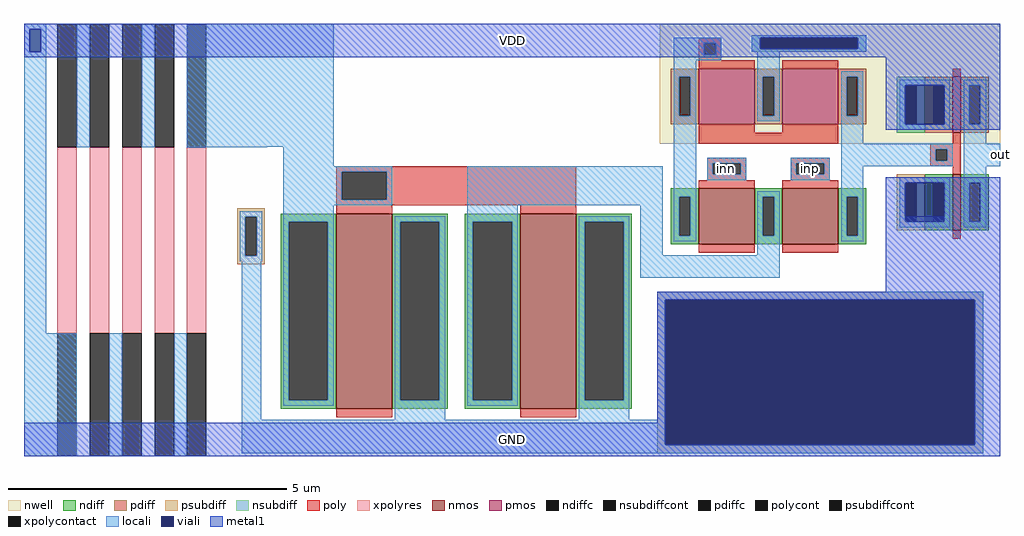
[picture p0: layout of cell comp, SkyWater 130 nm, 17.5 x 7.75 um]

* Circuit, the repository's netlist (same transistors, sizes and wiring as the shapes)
* NGSPICE file created from comp.ext - technology: sky130A

.subckt inverter a y VDD GND
X0 y a VDD VDD sky130_fd_pr__pfet_01v8 ad=0.5 pd=3 as=0.5 ps=3 w=1 l=0.15
X1 y a GND GND sky130_fd_pr__nfet_01v8 ad=0.5 pd=3 as=0.5 ps=3 w=1 l=0.15
.ends

.subckt res100k bot top GND
X0 a_0_668# bot GND sky130_fd_pr__res_xhigh_po_0p35 l=3.5
X1 top a_348_n440# GND sky130_fd_pr__res_xhigh_po_0p35 l=3.5
X2 a_0_668# a_116_n440# GND sky130_fd_pr__res_xhigh_po_0p35 l=3.5
X3 a_232_668# a_116_n440# GND sky130_fd_pr__res_xhigh_po_0p35 l=3.5
X4 a_232_668# a_348_n440# GND sky130_fd_pr__res_xhigh_po_0p35 l=3.5
.ends

*.subckt comp inn inp
Xinverter_0 inverter_0/a inverter_0/y VDD GND inverter
Xres100k_0 res100k_0/bot VDD GND res100k
X0 VDD a_2200_760# a_2200_760# VDD sky130_fd_pr__pfet_01v8 ad=0.25 pd=1.5 as=0.5 ps=3 w=1 l=1
X1 GND res100k_0/bot a_1460_170# GND sky130_fd_pr__nfet_01v8 ad=3.5 pd=9 as=3.5 ps=9 w=3.5 l=1
X2 inverter_0/a a_2200_760# VDD VDD sky130_fd_pr__pfet_01v8 ad=0.5 pd=3 as=0.25 ps=1.5 w=1 l=1
X3 GND res100k_0/bot res100k_0/bot GND sky130_fd_pr__nfet_01v8 ad=3.5 pd=9 as=3.5 ps=9 w=3.5 l=1
X4 a_1460_170# inn a_2200_760# GND sky130_fd_pr__nfet_01v8 ad=0.25 pd=1.5 as=0.5 ps=3 w=1 l=1
X5 inverter_0/a inp a_1460_170# GND sky130_fd_pr__nfet_01v8 ad=0.5 pd=3 as=0.25 ps=1.5 w=1 l=1
*.ends

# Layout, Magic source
magic
tech sky130A
<< nwell >>
rect 1080 675 1690 775
rect 1080 560 1485 675
<< nmos >>
rect 500 85 600 435
rect 830 85 930 435
rect 1150 380 1250 480
rect 1300 380 1400 480
<< pmos >>
rect 1150 595 1250 695
rect 1300 595 1400 695
<< ndiff >>
rect 1100 465 1150 480
rect 400 420 500 435
rect 400 100 415 420
rect 485 100 500 420
rect 400 85 500 100
rect 600 420 700 435
rect 600 100 615 420
rect 685 100 700 420
rect 600 85 700 100
rect 730 420 830 435
rect 730 100 745 420
rect 815 100 830 420
rect 730 85 830 100
rect 930 420 1030 435
rect 930 100 945 420
rect 1015 100 1030 420
rect 1100 395 1115 465
rect 1135 395 1150 465
rect 1100 380 1150 395
rect 1250 465 1300 480
rect 1250 395 1265 465
rect 1285 395 1300 465
rect 1250 380 1300 395
rect 1400 465 1450 480
rect 1400 395 1415 465
rect 1435 395 1450 465
rect 1400 380 1450 395
rect 930 85 1030 100
<< pdiff >>
rect 1100 680 1150 695
rect 1100 610 1115 680
rect 1135 610 1150 680
rect 1100 595 1150 610
rect 1250 680 1300 695
rect 1250 610 1265 680
rect 1285 610 1300 680
rect 1250 595 1300 610
rect 1400 680 1450 695
rect 1400 610 1415 680
rect 1435 610 1450 680
rect 1400 595 1450 610
<< ndiffc >>
rect 415 100 485 420
rect 615 100 685 420
rect 745 100 815 420
rect 945 100 1015 420
rect 1115 395 1135 465
rect 1265 395 1285 465
rect 1415 395 1435 465
<< pdiffc >>
rect 1115 610 1135 680
rect 1265 610 1285 680
rect 1415 610 1435 680
<< psubdiff >>
rect 1075 280 1660 295
rect 1075 20 1090 280
rect 1645 20 1660 280
rect 1075 5 1660 20
<< nsubdiff >>
rect 1245 750 1450 755
rect 1245 730 1260 750
rect 1435 730 1450 750
rect 1245 725 1450 730
<< psubdiffcont >>
rect 1090 20 1645 280
<< nsubdiffcont >>
rect 1260 730 1435 750
<< poly >>
rect 1150 740 1190 750
rect 1150 720 1160 740
rect 1180 720 1190 740
rect 1150 710 1190 720
rect 1150 695 1250 710
rect 1300 695 1400 710
rect 1150 580 1250 595
rect 1300 580 1400 595
rect 1150 560 1400 580
rect 1165 525 1235 535
rect 500 510 930 520
rect 500 460 510 510
rect 590 460 930 510
rect 1165 505 1175 525
rect 1225 505 1235 525
rect 1165 495 1235 505
rect 1315 525 1385 535
rect 1315 505 1325 525
rect 1375 505 1385 525
rect 1315 495 1385 505
rect 1150 480 1250 495
rect 1300 480 1400 495
rect 500 450 930 460
rect 500 435 600 450
rect 830 435 930 450
rect 1150 365 1250 380
rect 1300 365 1400 380
rect 500 70 600 85
rect 830 70 930 85
<< polycont >>
rect 1160 720 1180 740
rect 510 460 590 510
rect 1175 505 1225 525
rect 1325 505 1375 525
<< locali >>
rect -60 765 -20 775
rect -60 725 -50 765
rect -30 725 -20 765
rect -60 220 -20 725
rect 232 555 495 775
rect 1245 750 1450 755
rect 232 554 375 555
rect 405 520 495 555
rect 1105 740 1190 750
rect 1105 720 1160 740
rect 1180 720 1190 740
rect 1245 730 1260 750
rect 1435 730 1450 750
rect 1245 725 1450 730
rect 1105 710 1190 720
rect 1105 680 1145 710
rect 1105 610 1115 680
rect 1135 610 1145 680
rect 405 510 600 520
rect 405 460 510 510
rect 590 460 600 510
rect 405 450 600 460
rect 735 450 1085 520
rect 405 420 495 450
rect -60 0 35 220
rect 330 65 365 350
rect 405 100 415 420
rect 485 100 495 420
rect 405 90 495 100
rect 605 420 695 430
rect 605 100 615 420
rect 685 100 695 420
rect 605 65 695 100
rect 735 420 825 450
rect 735 100 745 420
rect 815 100 825 420
rect 735 90 825 100
rect 935 420 1025 430
rect 935 100 945 420
rect 1015 100 1025 420
rect 1045 360 1085 450
rect 1105 465 1145 610
rect 1255 680 1295 725
rect 1255 610 1265 680
rect 1285 610 1295 680
rect 1255 600 1295 610
rect 1405 680 1445 690
rect 1405 610 1415 680
rect 1435 610 1445 680
rect 1405 560 1445 610
rect 1165 525 1235 535
rect 1165 505 1175 525
rect 1225 505 1235 525
rect 1165 495 1235 505
rect 1315 525 1385 535
rect 1315 505 1325 525
rect 1375 505 1385 525
rect 1315 495 1385 505
rect 1405 520 1570 560
rect 1105 395 1115 465
rect 1135 395 1145 465
rect 1105 385 1145 395
rect 1255 465 1295 475
rect 1255 395 1265 465
rect 1285 395 1295 465
rect 1255 360 1295 395
rect 1405 465 1445 520
rect 1405 395 1415 465
rect 1435 395 1445 465
rect 1405 385 1445 395
rect 1045 320 1295 360
rect 935 65 1025 100
rect 1075 280 1660 295
rect 1075 65 1090 280
rect 330 20 1090 65
rect 1645 20 1660 280
rect 330 5 1660 20
<< viali >>
rect -50 725 -30 765
rect 1260 730 1435 750
rect 1090 20 1645 280
<< metal1 >>
rect -60 765 1690 775
rect -60 725 -50 765
rect -30 750 1690 765
rect -30 730 1260 750
rect 1435 730 1690 750
rect -30 725 1690 730
rect -60 715 1690 725
rect 1485 675 1690 715
rect 1485 295 1690 430
rect 1075 280 1690 295
rect 1075 60 1090 280
rect -60 20 1090 60
rect 1645 20 1690 280
rect -60 0 1690 20
use inverter  inverter_0
transform 1 0 1605 0 1 425
box -120 -35 85 275
use res100k  res100k_0
transform -1 0 267 0 -1 554
box -105 -220 267 554
<< labels >>
rlabel metal1 -60 715 1690 775 1 VDD
rlabel metal1 -60 0 1690 60 5 GND
rlabel locali 1165 495 1235 535 1 inn
port 1 n
rlabel locali 1315 495 1385 535 1 inp
port 2 n
rlabel space 1690 520 1690 560 3 out
<< end >>

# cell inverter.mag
magic
tech sky130A
<< nwell >>
rect -120 135 85 275
<< nmos >>
rect 0 -20 15 80
<< pmos >>
rect 0 155 15 255
<< ndiff >>
rect -50 65 0 80
rect -50 -5 -35 65
rect -15 -5 0 65
rect -50 -20 0 -5
rect 15 65 65 80
rect 15 -5 30 65
rect 50 -5 65 65
rect 15 -20 65 -5
<< pdiff >>
rect -50 240 0 255
rect -50 170 -35 240
rect -15 170 0 240
rect -50 155 0 170
rect 15 240 65 255
rect 15 170 30 240
rect 50 170 65 240
rect 15 155 65 170
<< ndiffc >>
rect -35 -5 -15 65
rect 30 -5 50 65
<< pdiffc >>
rect -35 170 -15 240
rect 30 170 50 240
<< psubdiff >>
rect -100 65 -50 80
rect -100 -5 -85 65
rect -65 -5 -50 65
rect -100 -20 -50 -5
<< nsubdiff >>
rect -100 240 -50 255
rect -100 170 -85 240
rect -65 170 -50 240
rect -100 155 -50 170
<< psubdiffcont >>
rect -85 -5 -65 65
<< nsubdiffcont >>
rect -85 170 -65 240
<< poly >>
rect 0 255 15 270
rect 0 135 15 155
rect -40 125 15 135
rect -40 105 -30 125
rect -10 105 15 125
rect -40 95 15 105
rect 0 80 15 95
rect 0 -35 15 -20
<< polycont >>
rect -30 105 -10 125
<< locali >>
rect -95 240 -5 250
rect -95 170 -85 240
rect -15 170 -5 240
rect -95 160 -5 170
rect 20 240 60 250
rect 20 170 30 240
rect 50 170 60 240
rect 20 135 60 170
rect -40 125 0 135
rect -40 105 -30 125
rect -10 105 0 125
rect -40 95 0 105
rect 20 95 85 135
rect -95 65 -5 75
rect -95 -5 -85 65
rect -15 -5 -5 65
rect -95 -15 -5 -5
rect 20 65 60 95
rect 20 -5 30 65
rect 50 -5 60 65
rect 20 -15 60 -5
<< viali >>
rect -85 170 -65 240
rect -65 170 -35 240
rect -35 170 -15 240
rect -85 -5 -65 65
rect -65 -5 -35 65
rect -35 -5 -15 65
<< metal1 >>
rect -120 240 85 250
rect -120 170 -85 240
rect -15 170 85 240
rect -120 160 85 170
rect -120 65 85 75
rect -120 -5 -85 65
rect -15 -5 85 65
rect -120 -15 85 -5
<< labels >>
rlabel locali 85 95 85 135 3 y
port 2 e
rlabel metal1 -120 160 85 250 1 VDD
rlabel metal1 -120 -15 85 75 5 GND
rlabel locali -40 95 0 135 7 a
port 1 w
<< end >>

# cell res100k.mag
magic
tech sky130A
<< psubdiff >>
rect -105 195 -55 210
rect -105 125 -90 195
rect -70 125 -55 195
rect -105 110 -55 125
<< psubdiffcont >>
rect -90 125 -70 195
<< xpolycontact >>
rect 0 334 35 554
rect 0 -220 35 0
rect 58 334 93 554
rect 58 -220 93 0
rect 116 334 151 554
rect 116 -220 151 0
rect 174 334 209 554
rect 174 -220 209 0
rect 232 334 267 554
rect 232 -220 267 0
<< xpolyres >>
rect 0 0 35 334
rect 58 0 93 334
rect 116 0 151 334
rect 174 0 209 334
rect 232 0 267 334
<< locali >>
rect 35 334 58 554
rect 151 334 174 554
rect -100 195 -60 205
rect -100 125 -90 195
rect -70 125 -60 195
rect -100 115 -60 125
rect 93 -220 116 0
rect 209 -220 232 0
<< labels >>
rlabel locali -100 115 -60 205 5 GND
rlabel locali 0 -220 35 0 5 bot
port 1 s
rlabel locali 232 334 267 554 1 top
port 2 n
<< end >>
